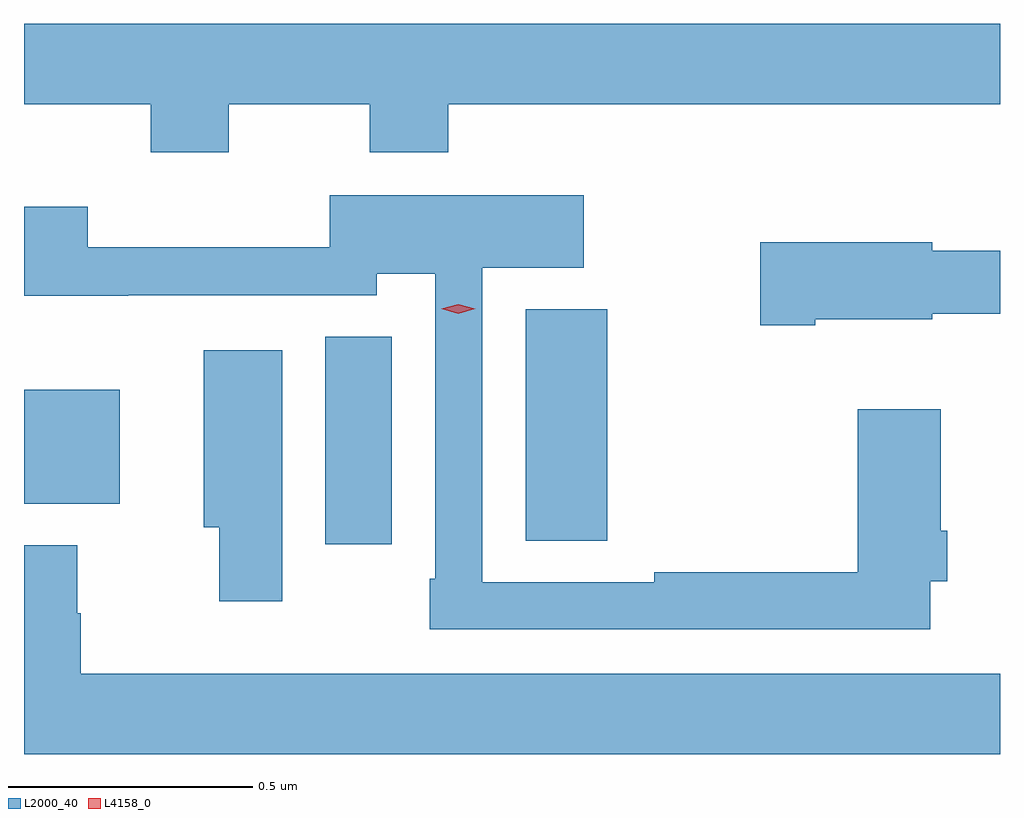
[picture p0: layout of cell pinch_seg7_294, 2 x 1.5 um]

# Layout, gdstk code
import gdstk
lib = gdstk.Library(unit=1e-6, precision=1e-09)
def R(c, l, rs):  # rectangles x0, y0, x1, y1
    for r in rs: c.add(gdstk.rectangle(r[:2], r[2:], *l))
def P(c, l, *ps):  # polygons
    for p in ps: c.add(gdstk.Polygon(p, *l))
L2000_40 = (2000, 40)
L4158_0 = (4158, 0)

pinch_seg7_294 = lib.new_cell('pinch_seg7_294')
R(pinch_seg7_294, L2000_40, [(582.266,1042.338,582.403,1042.763), (582.677,1042.345,582.844,1042.819), (581.649,1042.421,581.845,1042.654)])
P(pinch_seg7_294, L2000_40, [(582.069,1043.24),(582.358,1043.24),(582.358,1043.141),(582.518,1043.141),(582.518,1043.24),(583.649,1043.24),(583.649,1043.404),(581.649,1043.404),(581.649,1043.24),(581.909,1043.24),(581.909,1043.141),(582.069,1043.141)],
  [(583.506,1042.262),(583.541,1042.262),(583.541,1042.366),(583.528,1042.366),(583.528,1042.615),(583.358,1042.615),(583.358,1042.28),(582.94,1042.28),(582.94,1042.26),(582.588,1042.26),(582.588,1042.904),(582.796,1042.904),(582.796,1043.053),(582.276,1043.053),(582.276,1042.946),(581.78,1042.946),(581.78,1043.029),(581.649,1043.029),(581.649,1042.847),(581.863,1042.847),(581.863,1042.848),(582.372,1042.848),(582.372,1042.892),(582.492,1042.892),(582.492,1042.267),(582.48,1042.267),(582.48,1042.164),(583.506,1042.164)],
  [(583.27,1042.799),(583.51,1042.799),(583.51,1042.81),(583.649,1042.81),(583.649,1042.939),(583.51,1042.939),(583.51,1042.957),(583.158,1042.957),(583.158,1042.787),(583.27,1042.787)],
  [(582.178,1042.735),(582.017,1042.735),(582.017,1042.373),(582.049,1042.373),(582.049,1042.221),(582.178,1042.221)],
  [(583.649,1042.072),(581.765,1042.072),(581.765,1042.196),(581.758,1042.196),(581.758,1042.336),(581.649,1042.336),(581.649,1041.908),(583.649,1041.908)])
P(pinch_seg7_294, L4158_0, [(582.539,1042.81),(582.504,1042.82),(582.504,1042.82),(582.504,1042.82),(582.539,1042.83),(582.574,1042.82),(582.574,1042.82),(582.574,1042.82)])

lib.write_gds('pinch_seg7_294.gds')
